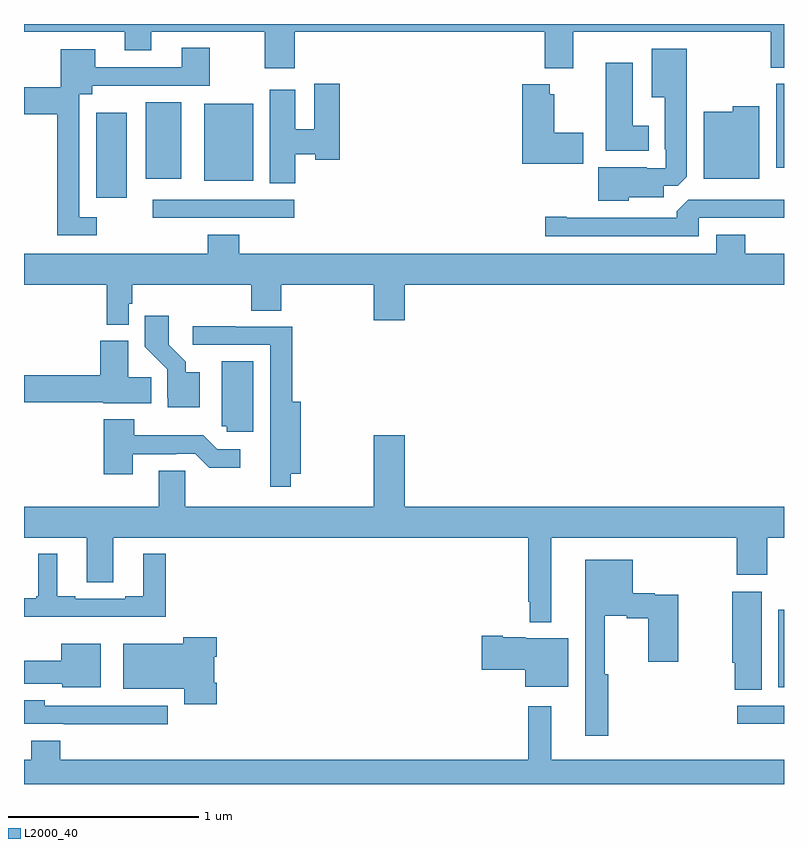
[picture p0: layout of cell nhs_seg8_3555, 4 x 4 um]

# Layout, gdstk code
import gdstk
lib = gdstk.Library(unit=1e-6, precision=1e-09)
def R(c, l, rs):  # rectangles x0, y0, x1, y1
    for r in rs: c.add(gdstk.rectangle(r[:2], r[2:], *l))
def P(c, l, *ps):  # polygons
    for p in ps: c.add(gdstk.Polygon(p, *l))
L2000_40 = (2000, 40)

nhs_seg8_3555 = lib.new_cell('nhs_seg8_3555')
R(nhs_seg8_3555, L2000_40, [(334.755,1086.216,335,1086.312), (334.97,1086.41,335,1086.817), (331.677,1088.88,332.422,1088.976), (331.379,1088.985,331.54,1089.433), (331.949,1089.074,332.206,1089.481), (331.64,1089.086,331.828,1089.487), (334.958,1089.144,335,1089.586)])
P(nhs_seg8_3555, L2000_40, [(332.426,1089.86),(333.74,1089.86),(333.74,1089.668),(333.892,1089.668),(333.892,1089.86),(334.93,1089.86),(334.93,1089.671),(335,1089.671),(335,1089.9),(331,1089.9),(331,1089.86),(331.529,1089.86),(331.529,1089.761),(331.669,1089.761),(331.669,1089.86),(332.266,1089.86),(332.266,1089.666),(332.426,1089.666)],
  [(331.384,1088.883),(331.29,1088.883),(331.29,1089.53),(331.36,1089.53),(331.36,1089.576),(331.977,1089.576),(331.977,1089.775),(331.829,1089.775),(331.829,1089.672),(331.375,1089.672),(331.375,1089.766),(331.193,1089.766),(331.193,1089.567),(331,1089.567),(331,1089.425),(331.174,1089.425),(331.174,1088.787),(331.384,1088.787)],
  [(334.182,1088.987),(334.366,1088.987),(334.366,1089.048),(334.44,1089.048),(334.489,1089.097),(334.489,1089.769),(334.304,1089.769),(334.304,1089.515),(334.373,1089.515),(334.373,1089.241),(334.377,1089.241),(334.377,1089.141),(334.277,1089.141),(334.277,1089.145),(334.022,1089.145),(334.022,1088.969),(334.182,1088.969)],
  [(334.288,1089.364),(334.204,1089.364),(334.204,1089.697),(334.061,1089.697),(334.061,1089.233),(334.288,1089.233)],
  [(332.428,1089.215),(332.532,1089.215),(332.532,1089.185),(332.663,1089.185),(332.663,1089.586),(332.528,1089.586),(332.528,1089.345),(332.428,1089.345),(332.428,1089.553),(332.294,1089.553),(332.294,1089.061),(332.428,1089.061)],
  [(333.943,1089.327),(333.79,1089.327),(333.79,1089.529),(333.768,1089.529),(333.768,1089.583),(333.623,1089.583),(333.623,1089.164),(333.943,1089.164)],
  [(334.87,1089.466),(334.731,1089.466),(334.731,1089.439),(334.577,1089.439),(334.577,1089.086),(334.87,1089.086)],
  [(334.551,1088.88),(335,1088.88),(335,1088.976),(334.497,1088.976),(334.436,1088.914),(334.436,1088.88),(333.856,1088.88),(333.856,1088.885),(333.744,1088.885),(333.744,1088.784),(334.551,1088.784)],
  [(332.132,1088.791),(331.967,1088.791),(331.967,1088.692),(331,1088.692),(331,1088.528),(331.435,1088.528),(331.435,1088.318),(331.551,1088.318),(331.551,1088.427),(331.571,1088.427),(331.571,1088.528),(332.195,1088.528),(332.195,1088.392),(332.355,1088.392),(332.355,1088.528),(332.84,1088.528),(332.84,1088.34),(333.004,1088.34),(333.004,1088.528),(335,1088.528),(335,1088.692),(334.796,1088.692),(334.796,1088.791),(334.643,1088.791),(334.643,1088.692),(332.132,1088.692)],
  [(331.924,1088.068),(331.852,1088.068),(331.852,1088.123),(331.762,1088.213),(331.762,1088.365),(331.636,1088.365),(331.636,1088.202),(331.755,1088.083),(331.755,1087.932),(331.757,1087.932),(331.757,1087.883),(331.924,1087.883)],
  [(332.404,1087.532),(332.457,1087.532),(332.457,1087.912),(332.411,1087.912),(332.411,1088.307),(332.111,1088.307),(332.111,1088.31),(331.887,1088.31),(331.887,1088.211),(332.295,1088.211),(332.295,1087.464),(332.404,1087.464)],
  [(331.67,1088.042),(331.549,1088.042),(331.549,1088.233),(331.4,1088.233),(331.4,1088.052),(331,1088.052),(331,1087.91),(331.416,1087.91),(331.416,1087.904),(331.67,1087.904)],
  [(332.206,1088.126),(332.042,1088.126),(332.042,1087.782),(332.067,1087.782),(332.067,1087.755),(332.206,1087.755)],
  [(331.573,1087.635),(331.802,1087.635),(331.802,1087.638),(331.902,1087.638),(331.975,1087.565),(332.137,1087.565),(332.137,1087.662),(332.016,1087.662),(331.943,1087.735),(331.581,1087.735),(331.581,1087.819),(331.421,1087.819),(331.421,1087.53),(331.573,1087.53)],
  [(333.775,1087.196),(334.751,1087.196),(334.751,1087.002),(334.911,1087.002),(334.911,1087.196),(335,1087.196),(335,1087.36),(333.004,1087.36),(333.004,1087.735),(332.84,1087.735),(332.84,1087.36),(331.848,1087.36),(331.848,1087.55),(331.709,1087.55),(331.709,1087.36),(331,1087.36),(331,1087.196),(331.331,1087.196),(331.331,1086.961),(331.471,1086.961),(331.471,1087.196),(333.654,1087.196),(333.654,1086.859),(333.661,1086.859),(333.661,1086.752),(333.775,1086.752)],
  [(331.745,1087.111),(331.628,1087.111),(331.628,1086.889),(331.532,1086.889),(331.532,1086.876),(331.27,1086.876),(331.27,1086.889),(331.174,1086.889),(331.174,1087.111),(331.076,1087.111),(331.076,1086.889),(331.065,1086.889),(331.065,1086.877),(331,1086.877),(331,1086.78),(331.17,1086.78),(331.17,1086.779),(331.745,1086.779)],
  [(334.075,1086.477),(334.057,1086.477),(334.057,1086.785),(334.172,1086.785),(334.172,1086.773),(334.286,1086.773),(334.286,1086.543),(334.444,1086.543),(334.444,1086.895),(334.32,1086.895),(334.32,1086.903),(334.204,1086.903),(334.204,1087.081),(333.953,1087.081),(333.953,1086.153),(334.075,1086.153)],
  [(334.882,1086.913),(334.727,1086.913),(334.727,1086.537),(334.741,1086.537),(334.741,1086.397),(334.882,1086.397)],
  [(333.865,1086.667),(333.642,1086.667),(333.642,1086.673),(333.52,1086.673),(333.52,1086.68),(333.408,1086.68),(333.408,1086.502),(333.638,1086.502),(333.638,1086.413),(333.865,1086.413)],
  [(332.015,1086.433),(332.002,1086.433),(332.002,1086.569),(332.015,1086.569),(332.015,1086.673),(331.837,1086.673),(331.837,1086.637),(331.523,1086.637),(331.523,1086.401),(331.844,1086.401),(331.844,1086.321),(332.015,1086.321)],
  [(331.405,1086.637),(331.196,1086.637),(331.196,1086.55),(331,1086.55),(331,1086.428),(331.2,1086.428),(331.2,1086.41),(331.405,1086.41)],
  [(331.756,1086.312),(331.11,1086.312),(331.11,1086.34),(331,1086.34),(331,1086.216),(331.21,1086.216),(331.21,1086.215),(331.756,1086.215)],
  [(335,1086.028),(333.775,1086.028),(333.775,1086.31),(333.654,1086.31),(333.654,1086.028),(331.19,1086.028),(331.19,1086.127),(331.037,1086.127),(331.037,1086.028),(331,1086.028),(331,1085.9),(335,1085.9)])

lib.write_gds('nhs_seg8_3555.gds')
